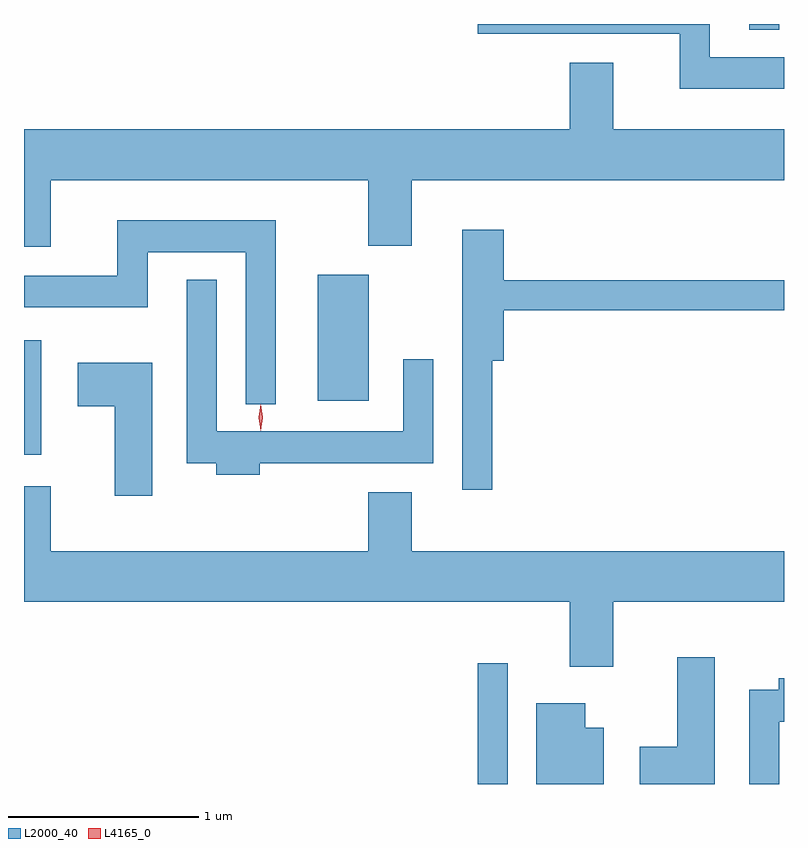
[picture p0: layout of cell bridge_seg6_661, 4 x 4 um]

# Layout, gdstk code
import gdstk
lib = gdstk.Library(unit=1e-6, precision=1e-09)
def R(c, l, rs):  # rectangles x0, y0, x1, y1
    for r in rs: c.add(gdstk.rectangle(r[:2], r[2:], *l))
def P(c, l, *ps):  # polygons
    for p in ps: c.add(gdstk.Polygon(p, *l))
L2000_40 = (2000, 40)
L4165_0 = (4165, 0)

bridge_seg6_661 = lib.new_cell('bridge_seg6_661')
R(bridge_seg6_661, L2000_40, [(308.966,1577.938,309.124,1578.573), (306.579,1579.671,306.669,1580.274), (308.126,1579.956,308.394,1580.619), (310.396,1581.908,310.554,1581.938)])
P(bridge_seg6_661, L2000_40, [(310.579,1581.764),(310.189,1581.764),(310.189,1581.938),(308.966,1581.938),(308.966,1581.886),(310.031,1581.886),(310.031,1581.596),(310.579,1581.596)],
  [(306.719,1581.116),(308.391,1581.116),(308.391,1580.771),(308.619,1580.771),(308.619,1581.116),(310.579,1581.116),(310.579,1581.384),(309.679,1581.384),(309.679,1581.734),(309.451,1581.734),(309.451,1581.384),(306.579,1581.384),(306.579,1580.766),(306.719,1580.766)],
  [(307.904,1580.904),(307.071,1580.904),(307.071,1580.614),(306.579,1580.614),(306.579,1580.446),(307.229,1580.446),(307.229,1580.736),(307.746,1580.736),(307.746,1579.938),(307.904,1579.938)],
  [(309.044,1580.166),(309.104,1580.166),(309.104,1580.431),(310.579,1580.431),(310.579,1580.589),(309.104,1580.589),(309.104,1580.854),(308.886,1580.854),(308.886,1579.488),(309.044,1579.488)],
  [(307.819,1579.626),(308.734,1579.626),(308.734,1580.173),(308.576,1580.173),(308.576,1579.794),(307.594,1579.794),(307.594,1580.593),(307.436,1580.593),(307.436,1579.626),(307.591,1579.626),(307.591,1579.566),(307.819,1579.566)],
  [(307.254,1580.154),(306.861,1580.154),(306.861,1579.926),(307.056,1579.926),(307.056,1579.456),(307.254,1579.456)],
  [(309.679,1578.896),(310.579,1578.896),(310.579,1579.164),(308.619,1579.164),(308.619,1579.474),(308.391,1579.474),(308.391,1579.164),(306.719,1579.164),(306.719,1579.504),(306.579,1579.504),(306.579,1578.896),(309.451,1578.896),(309.451,1578.556),(309.679,1578.556)],
  [(310.214,1578.604),(310.016,1578.604),(310.016,1578.134),(309.821,1578.134),(309.821,1577.938),(310.214,1577.938)],
  [(310.554,1578.266),(310.579,1578.266),(310.579,1578.494),(310.551,1578.494),(310.551,1578.434),(310.396,1578.434),(310.396,1577.938),(310.554,1577.938)],
  [(309.629,1578.234),(309.534,1578.234),(309.534,1578.364),(309.276,1578.364),(309.276,1577.938),(309.629,1577.938)])
P(bridge_seg6_661, L4165_0, [(307.826,1579.797),(307.825,1579.798),(307.815,1579.867),(307.825,1579.936),(307.826,1579.936),(307.826,1579.936),(307.836,1579.867),(307.826,1579.798)],
  [(307.825,1579.799),(307.825,1579.8),(307.815,1579.866),(307.825,1579.932),(307.825,1579.933),(307.826,1579.932),(307.835,1579.866),(307.826,1579.8)])

lib.write_gds('bridge_seg6_661.gds')
